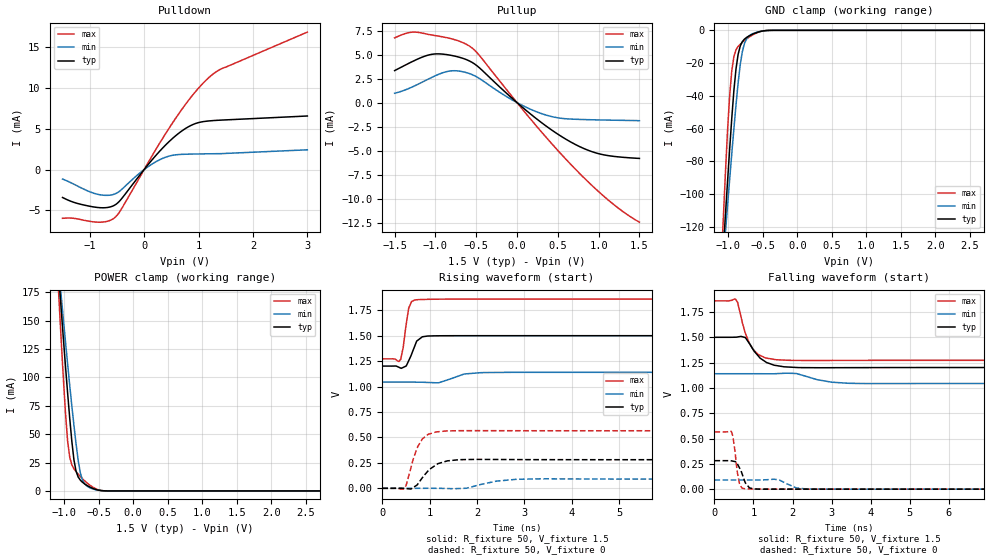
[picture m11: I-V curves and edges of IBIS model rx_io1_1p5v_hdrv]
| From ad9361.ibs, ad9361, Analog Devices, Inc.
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|   Model: io1_1p5v_hdrv
[Model]   rx_io1_1p5v_hdrv
Model_type  I/O
Vinl=0.3
Vinh=1.2
Vref=0
Vmeas=0.75
Rref=1G
Cref=3pF
|variable   typ   min   max
C_comp_pullup   5.808326E-13 5.232606E-13 5.940237E-13
C_comp_pulldown   2.205956E-13 2.086723E-13 2.667305E-13
[C Comp Corner]
C_comp_pullup   5.232606E-13 5.808326E-13 5.940237E-13
C_comp_pulldown   2.086723E-13 2.667305E-13 2.205956E-13
[Temperature Range]   25   85   -40
[Voltage Range]   1.5   1.14   1.86
[Power Clamp Reference] 1.5   1.14   1.86
[GND Clamp Reference]   0   0   0
[Pullup Reference]   1.5   1.14   1.86
[Pulldown Reference]   0   0   0
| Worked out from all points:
|   slope of the pulldown table from 0 to 0.225 V, typ, clamps not added: 125 ohm
|   slope of the pullup table from 0 to 0.225 V, typ, clamps not added: 142 ohm
|   GND clamp passes 1 mA (typ) near -0.56 V on its own axis
|   POWER clamp passes 1 mA (typ) near -0.52 V on its own axis
|   rising waveform, R_fixture 50, V_fixture 1.5: 20-80 % time 156ps typ, 352ps min, 105ps max; typ from 1.2 V to 1.5 V
|   falling waveform, R_fixture 50, V_fixture 1.5: 20-80 % time 404ps typ, 616ps min, 318ps max; typ from 1.5 V to 1.2 V
|   rising waveform, R_fixture 50, V_fixture 0: 20-80 % time 347ps typ, 532ps min, 251ps max; typ from 0 V to 0.281 V
|   falling waveform, R_fixture 50, V_fixture 0: 20-80 % time 183ps typ, 307ps min, 115ps max; typ from 0.281 V to 0 V
[Power clamp]
| Voltage   I(typ)   I(min)   I(max)
-1.5V     564.4mA    490.2mA    687.7mA
-1.102V   210.3mA    211.7mA    200.8mA
-1.071V   184.5mA    191.2mA    165.7mA
-1.041V   159mA      170.9mA    131.6mA
-979.6mV  109.7mA    131.1mA    68.5mA
-949mV    86.25mA    111.8mA    43.96mA
-918.4mV  64.06mA    92.96mA    29.73mA
-857.1mV  27.23mA    57.53mA    19.46mA
-765.3mV  9.518mA    16.04mA    12.73mA
-642.9mV  3.937mA    3.277mA    5.83mA
-398mV    58.18uA    68.43uA    48.25uA
3V        -476.1pA   -19.95nA   -54.5pA
[GND Clamp]
| Voltage   I(typ)   I(min)   I(max)
-1.5V     -445.9mA   -384.7mA   -547.8mA
-1.102V   -154.8mA   -156.9mA   -143.7mA
-1.071V   -133.5mA   -140.1mA   -114.8mA
-1.041V   -112.6mA   -123.4mA   -87mA
-979.6mV  -72.45mA   -90.93mA   -39.82mA
-949mV    -53.65mA   -75.22mA   -24.76mA
-887.8mV  -23.53mA   -45.58mA   -11.88mA
-857.1mV  -14.7mA    -32.12mA   -9.847mA
-795.9mV  -6.885mA   -12.98mA   -7.326mA
-673.5mV  -2.867mA   -2.665mA   -3.445mA
-398mV    -36.1uA    -43.42uA   -23.76uA
3V        1.044nA    1.449nA    41.2pA
[Pullup]
| Voltage   I(typ)   I(min)   I(max)
-1.5V     3.332mA    971.1uA    6.736mA
-1.286V   4.259mA    1.62mA     7.331mA
-1.01V    5.062mA    2.761mA    6.985mA
-795.9mV  4.9mA      3.313mA    6.626mA
-551mV    4.189mA    2.916mA    5.692mA
-91.84mV  691.9uA    442uA      966.4uA
153.1mV   -1.099mA   -643.8uA   -1.581mA
398mV     -2.691mA   -1.395mA   -4.006mA
642.9mV   -4.024mA   -1.705mA   -6.283mA
1.01V     -5.334mA   -1.802mA   -9.342mA
1.255V    -5.657mA   -1.84mA    -11.07mA
1.5V      -5.808mA   -1.881mA   -12.44mA
|3.000000   -6.769824E-03   -2.206850E-03   -2.033422E-02
[Pulldown]
| Voltage   I(typ)   I(min)   I(max)
-1.5V     -3.423mA   -1.163mA   -5.975mA
-1.255V   -4.095mA   -1.913mA   -6.015mA
-918.4mV  -4.593mA   -2.915mA   -6.42mA
-704.1mV  -4.672mA   -3.16mA    -6.385mA
-551mV    -4.397mA   -3.021mA   -5.952mA
-428.6mV  -3.691mA   -2.529mA   -4.957mA
0V        -313.8nA   -636.3nA   -151nA
336.7mV   2.616mA    1.362mA    3.79mA
765.3mV   5.06mA     1.884mA    8.043mA
1.133V    5.925mA    1.931mA    10.93mA
1.408V    6.067mA    1.955mA    12.32mA
3V        6.573mA    2.425mA    16.87mA
[Rising Waveform]
R_fixture = 50
V_fixture = 1.5
V_fixture_min = 1.14
V_fixture_max = 1.86
| time   V(typ)   V(min)   V(max)
0s        1.201V     1.044V     1.272V
387.4ps   1.182V     1.044V     1.268V
439.6ps   1.188V     1.044V     1.382V
555.8ps   1.254V     1.044V     1.771V
618.1ps   1.32V      1.044V     1.836V
687.5ps   1.403V     1.044V     1.852V
843.4ps   1.489V     1.043V     1.856V
955.4ps   1.497V     1.041V     1.857V
2.084ns   1.5V       1.137V     1.86V
6.512ns   1.5V       1.14V      1.86V
[Falling Waveform]
R_fixture = 50
V_fixture = 1.5
V_fixture_min = 1.14
V_fixture_max = 1.86
| time   V(typ)   V(min)   V(max)
0s        1.5V       1.14V      1.86V
537.1ps   1.501V     1.14V      1.878V
592ps     1.503V     1.14V      1.847V
791.7ps   1.497V     1.14V      1.539V
987.3ps   1.381V     1.14V      1.382V
1.171ns   1.294V     1.14V      1.321V
1.582ns   1.221V     1.141V     1.278V
2.098ns   1.202V     1.142V     1.272V
3.449ns   1.2V       1.045V     1.272V
10.72ns   1.201V     1.044V     1.272V
[Rising Waveform]
R_fixture = 50
V_fixture = 0
V_fixture_min = 0
V_fixture_max = 0
| time   V(typ)   V(min)   V(max)
0s        5.761nV    31.35nV    566.6pV
441.6ps   -515.2uV   2.363uV    -8.29mV
499.3ps   -2.491mV   1.627uV    24.9mV
653.7ps   8.229mV    -15.85uV   290.6mV
741.4ps   37.69mV    -36.89uV   404.5mV
846.4ps   105.7mV    104.3uV    486.5mV
1.135ns   230.5mV    -78.38uV   554.2mV
1.625ns   281.5mV    -1.933mV   566.4mV
2.843ns   282.4mV    89.01mV    566mV
9.034ns   281.3mV    90.34mV    565.7mV
[Falling Waveform]
R_fixture = 50
V_fixture = 0
V_fixture_min = 0
V_fixture_max = 0
| time   V(typ)   V(min)   V(max)
0s        281.3mV    90.43mV    565.7mV
432ps     279.8mV    90.43mV    570.6mV
471.2ps   276.8mV    90.43mV    524.9mV
580ps     255.1mV    90.43mV    180.5mV
644.8ps   207.6mV    90.43mV    45.91mV
782.2ps   70.92mV    90.44mV    3.326mV
1ns       2.357mV    90.25mV    1.808mV
1.667ns   148.7uV    89.42mV    304.9uV
2.32ns    73.84uV    3.166mV    138.7uV
7.793ns   -2.191uV   11.69uV    -9.492uV
[Ramp]
| variable   typ   min   max
dV/dt_r  0.168774/3.48E-10   0.054213/5.32E-10   0.339449/2.51E-10
dV/dt_f  0.179216/4.04E-10   0.057672/6.16E-10   0.352544/3.18E-10
R_load = 50
|   End of [Model]: io1_1p5v_hdrv
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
